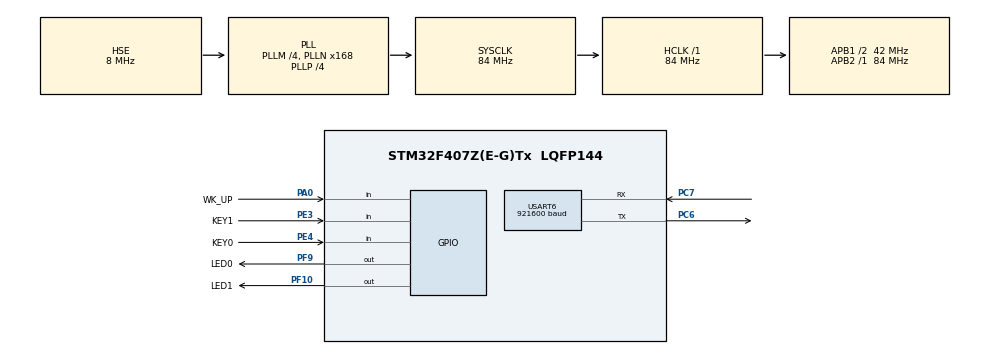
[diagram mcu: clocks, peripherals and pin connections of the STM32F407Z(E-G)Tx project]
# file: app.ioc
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Dma.Request0=USART6_TX
Dma.Request1=USART6_RX
Dma.USART6_RX.1.Direction=DMA_PERIPH_TO_MEMORY
Dma.USART6_RX.1.FIFOMode=DMA_FIFOMODE_DISABLE
Dma.USART6_RX.1.Instance=DMA2_Stream1
Dma.USART6_RX.1.MemDataAlignment=DMA_MDATAALIGN_BYTE
Dma.USART6_RX.1.MemInc=DMA_MINC_ENABLE
Dma.USART6_RX.1.Mode=DMA_CIRCULAR
Dma.USART6_RX.1.PeriphDataAlignment=DMA_PDATAALIGN_BYTE
Dma.USART6_RX.1.PeriphInc=DMA_PINC_DISABLE
Dma.USART6_RX.1.Priority=DMA_PRIORITY_VERY_HIGH
Dma.USART6_TX.0.Direction=DMA_MEMORY_TO_PERIPH
Dma.USART6_TX.0.FIFOMode=DMA_FIFOMODE_DISABLE
Dma.USART6_TX.0.Instance=DMA2_Stream7
Dma.USART6_TX.0.MemDataAlignment=DMA_MDATAALIGN_BYTE
Dma.USART6_TX.0.MemInc=DMA_MINC_ENABLE
Dma.USART6_TX.0.Mode=DMA_NORMAL
Dma.USART6_TX.0.PeriphDataAlignment=DMA_PDATAALIGN_BYTE
Dma.USART6_TX.0.PeriphInc=DMA_PINC_DISABLE
Dma.USART6_TX.0.Priority=DMA_PRIORITY_VERY_HIGH
IWDG.Prescaler=IWDG_PRESCALER_32
Mcu.Family=STM32F4
Mcu.Name=STM32F407Z(E-G)Tx
Mcu.Package=LQFP144
NVIC.DMA2_Stream1_IRQn=true\:3\:0\:true\:false\:true\:false\:true\:true
NVIC.DMA2_Stream7_IRQn=true\:5\:0\:true\:false\:true\:false\:true\:true
NVIC.PriorityGroup=NVIC_PRIORITYGROUP_4
NVIC.TIM2_IRQn=true\:14\:0\:true\:false\:true\:true\:true\:true
NVIC.USART6_IRQn=true\:4\:0\:true\:false\:true\:true\:true\:true
PA0-WKUP.GPIO_Label=WK_UP
PA0-WKUP.GPIO_PuPd=GPIO_PULLDOWN
PA0-WKUP.Signal=GPIO_Input
PA13.Mode=Serial_Wire
PA13.Signal=SYS_JTMS-SWDIO
PA14.Mode=Serial_Wire
PA14.Signal=SYS_JTCK-SWCLK
PC6.Mode=Asynchronous
PC6.Signal=USART6_TX
PC7.Mode=Asynchronous
PC7.Signal=USART6_RX
PE3.GPIO_Label=KEY1
PE3.GPIO_PuPd=GPIO_PULLUP
PE3.Signal=GPIO_Input
PE4.GPIO_Label=KEY0
PE4.GPIO_PuPd=GPIO_PULLUP
PE4.Signal=GPIO_Input
PF10.GPIO_Label=LED1
PF10.GPIO_PuPd=GPIO_PULLDOWN
PF10.GPIO_Speed=GPIO_SPEED_FREQ_HIGH
PF10.Signal=GPIO_Output
PF9.GPIO_Label=LED0
PF9.GPIO_ModeDefaultOutputPP=GPIO_MODE_OUTPUT_PP
PF9.GPIO_PuPd=GPIO_PULLDOWN
PF9.GPIO_Speed=GPIO_SPEED_FREQ_HIGH
PF9.Signal=GPIO_Output
PH0-OSC_IN.Mode=HSE-External-Oscillator
PH0-OSC_IN.Signal=RCC_OSC_IN
PH1-OSC_OUT.Mode=HSE-External-Oscillator
PH1-OSC_OUT.Signal=RCC_OSC_OUT
ProjectManager.HeapSize=0x400
ProjectManager.StackSize=0x2000
ProjectManager.TargetToolchain=Makefile
RCC.48MHZClocksFreq_Value=84000000
RCC.AHBFreq_Value=84000000
RCC.APB1CLKDivider=RCC_HCLK_DIV2
RCC.APB1Freq_Value=42000000
RCC.APB1TimFreq_Value=84000000
RCC.APB2Freq_Value=84000000
RCC.APB2TimFreq_Value=84000000
RCC.CortexFreq_Value=84000000
RCC.HCLKFreq_Value=84000000
RCC.HSE_VALUE=8000000
RCC.HSI_VALUE=16000000
RCC.LSE_VALUE=32768
RCC.PLLM=4
RCC.PLLN=168
RCC.PLLP=RCC_PLLP_DIV4
RCC.PLLSourceVirtual=RCC_PLLSOURCE_HSE
RCC.SYSCLKFreq_VALUE=84000000
RCC.SYSCLKSource=RCC_SYSCLKSOURCE_PLLCLK
RCC.VCOOutputFreq_Value=336000000
TIM2.AutoReloadPreload=TIM_AUTORELOAD_PRELOAD_ENABLE
TIM2.Period=249
TIM2.Prescaler=8399
USART6.BaudRate=921600
USART6.VirtualMode=VM_ASYNC
VP_CRC_VS_CRC.Mode=CRC_Activate
VP_IWDG_VS_IWDG.Mode=IWDG_Activate
VP_TIM2_VS_ClockSourceINT.Mode=Internal
board=custom

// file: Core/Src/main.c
/* USER CODE BEGIN Header */
/**
  ******************************************************************************
  * @file           : main.c
  * @brief          : Main program body
  ******************************************************************************
  * @attention
  *
  * Copyright (c) 2023 STMicroelectronics.
  * All rights reserved.
  *
  * This software is licensed under terms that can be found in the LICENSE file
  * in the root directory of this software component.
  * If no LICENSE file comes with this software, it is provided AS-IS.
  *
  ******************************************************************************
  */
/* USER CODE END Header */
#include "main.h"
#include "crc.h"
#include "dma.h"
#include "iwdg.h"
#include "tim.h"
#include "usart.h"
#include "gpio.h"

/* USER CODE BEGIN Includes */
#include <stdio.h>
#include "interface.h"
#include "device.h"
#include "events.h"
/* USER CODE END Includes */

void SystemClock_Config(void);

int main(void)
{
  /* USER CODE BEGIN 1 */
  SCB->VTOR = ADDR_APP_RUN;
  /* USER CODE END 1 */

  /* MCU Configuration--------------------------------------------------------*/

  /* Reset of all peripherals, Initializes the Flash interface and the Systick. */
  HAL_Init();

  /* Configure the system clock */
  SystemClock_Config();

  /* Initialize all configured peripherals */
  MX_GPIO_Init();
  MX_DMA_Init();
  MX_USART6_UART_Init();
  MX_CRC_Init();
  MX_IWDG_Init();
  MX_TIM2_Init();
  /* USER CODE BEGIN 2 */
  boot_param_check_upgrade();
  LL_GPIO_SetOutputPin(LED0_GPIO_Port, LED0_Pin);
  LL_GPIO_ResetOutputPin(LED1_GPIO_Port, LED1_Pin);
  frame_parse_register(FRAME_TYPE_BEGIN, iap_update);
  frame_parse_register(FRAME_TYPE_END, iap_update);
  frame_parse_register(FRAME_TYPE_DATA, iap_update);
  frame_parse_register(FRAME_TYPE_DEBUG, print_frame);
  /* USER CODE END 2 */

  /* Infinite loop */
  /* USER CODE BEGIN WHILE */
  while (1)
  {
    uart6_frame_parse();
    LL_IWDG_ReloadCounter(IWDG);
    /* USER CODE END WHILE */

    /* USER CODE BEGIN 3 */
    if (!event_empty()) {
      uint16_t ok = event_poll();
      if (!ok) {
        printf("No event was executed\n");
      }
      continue;
    }
  }
  /* USER CODE END 3 */
}

void SystemClock_Config(void)
{
  RCC_OscInitTypeDef RCC_OscInitStruct = {0};
  RCC_ClkInitTypeDef RCC_ClkInitStruct = {0};

  /** Configure the main internal regulator output voltage
  */
  __HAL_RCC_PWR_CLK_ENABLE();
  __HAL_PWR_VOLTAGESCALING_CONFIG(PWR_REGULATOR_VOLTAGE_SCALE1);

  /** Initializes the RCC Oscillators according to the specified parameters
  * in the RCC_OscInitTypeDef structure.
  */
  RCC_OscInitStruct.OscillatorType = RCC_OSCILLATORTYPE_LSI|RCC_OSCILLATORTYPE_HSE;
  RCC_OscInitStruct.HSEState = RCC_HSE_ON;
  RCC_OscInitStruct.LSIState = RCC_LSI_ON;
  RCC_OscInitStruct.PLL.PLLState = RCC_PLL_ON;
  RCC_OscInitStruct.PLL.PLLSource = RCC_PLLSOURCE_HSE;
  RCC_OscInitStruct.PLL.PLLM = 4;
  RCC_OscInitStruct.PLL.PLLN = 168;
  RCC_OscInitStruct.PLL.PLLP = RCC_PLLP_DIV4;
  RCC_OscInitStruct.PLL.PLLQ = 4;
  if (HAL_RCC_OscConfig(&RCC_OscInitStruct) != HAL_OK)
  {
    Error_Handler();
  }

  /** Initializes the CPU, AHB and APB buses clocks
  */
  RCC_ClkInitStruct.ClockType = RCC_CLOCKTYPE_HCLK|RCC_CLOCKTYPE_SYSCLK
                              |RCC_CLOCKTYPE_PCLK1|RCC_CLOCKTYPE_PCLK2;
  RCC_ClkInitStruct.SYSCLKSource = RCC_SYSCLKSOURCE_PLLCLK;
  RCC_ClkInitStruct.AHBCLKDivider = RCC_SYSCLK_DIV1;
  RCC_ClkInitStruct.APB1CLKDivider = RCC_HCLK_DIV2;
  RCC_ClkInitStruct.APB2CLKDivider = RCC_HCLK_DIV1;

  if (HAL_RCC_ClockConfig(&RCC_ClkInitStruct, FLASH_LATENCY_2) != HAL_OK)
  {
    Error_Handler();
  }
}

void Error_Handler(void)
{
  __disable_irq();
  while (1)
  {
  }
}
